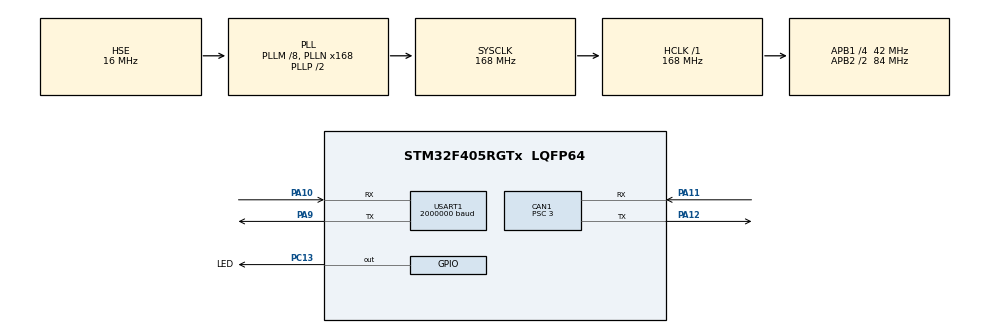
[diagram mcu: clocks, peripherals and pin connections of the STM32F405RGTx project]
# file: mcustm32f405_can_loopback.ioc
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CAN1.BS1=CAN_BS1_11TQ
CAN1.BS2=CAN_BS2_2TQ
CAN1.CalculateBaudRate=1000000
CAN1.CalculateTimeBit=1000
CAN1.CalculateTimeQuantum=71.42857142857143
CAN1.Mode=CAN_MODE_LOOPBACK
CAN1.Prescaler=3
Mcu.Family=STM32F4
Mcu.Name=STM32F405RGTx
Mcu.Package=LQFP64
NVIC.CAN1_RX0_IRQn=true\:0\:0\:false\:false\:true\:true\:true\:true
NVIC.CAN1_RX1_IRQn=true\:0\:0\:false\:false\:true\:true\:true\:true
NVIC.CAN1_SCE_IRQn=true\:0\:0\:false\:false\:true\:true\:true\:true
NVIC.CAN1_TX_IRQn=true\:0\:0\:false\:false\:true\:true\:true\:true
NVIC.PriorityGroup=NVIC_PRIORITYGROUP_4
PA10.Mode=Asynchronous
PA10.Signal=USART1_RX
PA11.Mode=CAN_Activate
PA11.Signal=CAN1_RX
PA12.Mode=CAN_Activate
PA12.Signal=CAN1_TX
PA13.Mode=Trace_Asynchronous_SW
PA13.Signal=SYS_JTMS-SWDIO
PA14.Mode=Trace_Asynchronous_SW
PA14.Signal=SYS_JTCK-SWCLK
PA9.Mode=Asynchronous
PA9.Signal=USART1_TX
PB3.Mode=Trace_Asynchronous_SW
PB3.Signal=SYS_JTDO-SWO
PC13-ANTI_TAMP.GPIO_Label=LED
PC13-ANTI_TAMP.GPIO_ModeDefaultOutputPP=GPIO_MODE_OUTPUT_OD
PC13-ANTI_TAMP.GPIO_PuPd=GPIO_NOPULL
PC13-ANTI_TAMP.PinState=GPIO_PIN_SET
PC13-ANTI_TAMP.Signal=GPIO_Output
PH0-OSC_IN.Mode=HSE-External-Oscillator
PH0-OSC_IN.Signal=RCC_OSC_IN
PH1-OSC_OUT.Mode=HSE-External-Oscillator
PH1-OSC_OUT.Signal=RCC_OSC_OUT
ProjectManager.HeapSize=0x200
ProjectManager.StackSize=0x400
ProjectManager.TargetToolchain=STM32CubeIDE
RCC.48MHZClocksFreq_Value=84000000
RCC.AHBFreq_Value=168000000
RCC.APB1CLKDivider=RCC_HCLK_DIV4
RCC.APB1Freq_Value=42000000
RCC.APB1TimFreq_Value=84000000
RCC.APB2CLKDivider=RCC_HCLK_DIV2
RCC.APB2Freq_Value=84000000
RCC.APB2TimFreq_Value=168000000
RCC.CortexFreq_Value=168000000
RCC.HCLKFreq_Value=168000000
RCC.HSE_VALUE=16000000
RCC.HSI_VALUE=16000000
RCC.LSE_VALUE=32768
RCC.PLLM=8
RCC.PLLN=168
RCC.PLLSourceVirtual=RCC_PLLSOURCE_HSE
RCC.SYSCLKFreq_VALUE=168000000
RCC.SYSCLKSource=RCC_SYSCLKSOURCE_PLLCLK
RCC.VCOOutputFreq_Value=336000000
USART1.BaudRate=2000000
USART1.VirtualMode=VM_ASYNC
board=custom

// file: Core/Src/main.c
/* USER CODE BEGIN Header */
/**
 ******************************************************************************
 * @file           : main.c
 * @brief          : Main program body
 ******************************************************************************
 * @attention
 *
 * Copyright (c) 2023 STM32World <lth@stm32world.com>
 * All rights reserved.
 *
 * This software is licensed under terms that can be found in the LICENSE file
 * in the root directory of this software component.
 * If no LICENSE file comes with this software, it is provided AS-IS.
 *
 ******************************************************************************
 */
/* USER CODE END Header */
#include "main.h"

CAN_HandleTypeDef hcan1;

UART_HandleTypeDef huart1;

/* USER CODE BEGIN PV */

CAN_TxHeaderTypeDef TxHeader;
CAN_RxHeaderTypeDef RxHeader;

uint32_t TxMailbox;

uint8_t TxData[8];
uint8_t RxData[8];

uint32_t msg_count = 0;

/* USER CODE END PV */

void SystemClock_Config(void);
static void MX_GPIO_Init(void);
static void MX_CAN1_Init(void);
static void MX_USART1_UART_Init(void);

/* USER CODE BEGIN 0 */

// Send printf to uart1
int _write(int fd, char *ptr, int len) {
    HAL_StatusTypeDef hstatus;

    if (fd == 1 || fd == 2) {
        hstatus = HAL_UART_Transmit(&huart1, (uint8_t*) ptr, len, HAL_MAX_DELAY);
        if (hstatus == HAL_OK)
            return len;
        else
            return -1;
    }
    return -1;
}

void HAL_CAN_TxMailbox0CompleteCallback(CAN_HandleTypeDef *hcan)
{
    DBG("HAL_CAN_TxMailbox0CompleteCallback");
}

void HAL_CAN_TxMailbox1CompleteCallback(CAN_HandleTypeDef *hcan)
{
    DBG("HAL_CAN_TxMailbox1CompleteCallback");
}

void HAL_CAN_TxMailbox2CompleteCallback(CAN_HandleTypeDef *hcan)
{
    DBG("HAL_CAN_TxMailbox2CompleteCallback");
}

void HAL_CAN_TxMailbox0AbortCallback(CAN_HandleTypeDef *hcan)
{
    DBG("HAL_CAN_TxMailbox0AbortCallback");
}

void HAL_CAN_TxMailbox1AbortCallback(CAN_HandleTypeDef *hcan)
{
    DBG("HAL_CAN_TxMailbox1AbortCallback");
}

void HAL_CAN_TxMailbox2AbortCallback(CAN_HandleTypeDef *hcan)
{
    DBG("HAL_CAN_TxMailbox2AbortCallback");
}

void HAL_CAN_RxFifo0MsgPendingCallback(CAN_HandleTypeDef *hcan)
{
    DBG("HAL_CAN_RxFifo0MsgPendingCallback");
    if (HAL_CAN_GetRxMessage(hcan, CAN_RX_FIFO0, &RxHeader, RxData) == HAL_OK) {
        DBG("Got message %lu - id = 0x%04lx len = 0x%lx, data=%02x%02x%02x%02x%02x%02x%02x%02x", msg_count + 1, RxHeader.StdId, RxHeader.DLC, RxData[0], RxData[1], RxData[2], RxData[3], RxData[4], RxData[5], RxData[6], RxData[7]);
    }
    msg_count++;
}

void HAL_CAN_RxFifo0FullCallback(CAN_HandleTypeDef *hcan)
{
    DBG("HAL_CAN_RxFifo0FullCallback");
}

void HAL_CAN_RxFifo1MsgPendingCallback(CAN_HandleTypeDef *hcan)
{
    DBG("HAL_CAN_RxFifo1MsgPendingCallback");
}

void HAL_CAN_RxFifo1FullCallback(CAN_HandleTypeDef *hcan)
{
    DBG("HAL_CAN_RxFifo1FullCallback");
}

void HAL_CAN_SleepCallback(CAN_HandleTypeDef *hcan)
{
    DBG("HAL_CAN_SleepCallback");
}

void HAL_CAN_WakeUpFromRxMsgCallback(CAN_HandleTypeDef *hcan)
{
    DBG("HAL_CAN_WakeUpFromRxMsgCallback");
}

void HAL_CAN_ErrorCallback(CAN_HandleTypeDef *hcan)
{
    DBG("HAL_CAN_ErrorCallback");
}

/* USER CODE END 0 */

int main(void)
{

    /* MCU Configuration--------------------------------------------------------*/

    /* Reset of all peripherals, Initializes the Flash interface and the Systick. */
    HAL_Init();

    /* Configure the system clock */
    SystemClock_Config();

    /* Initialize all configured peripherals */
    MX_GPIO_Init();
    MX_CAN1_Init();
    MX_USART1_UART_Init();
    /* USER CODE BEGIN 2 */

    DBG("\n\n\n\n\n---------------------\nCAN Loopback Starting");

    CAN_FilterTypeDef canfilterconfig;

    canfilterconfig.FilterActivation = CAN_FILTER_ENABLE;
    canfilterconfig.FilterBank = 12;  // anything between 0 to SlaveStartFilterBank
    canfilterconfig.FilterFIFOAssignment = CAN_RX_FIFO0;
    //canfilterconfig.FilterIdHigh = 0x103<<5;
    canfilterconfig.FilterIdHigh = 0x0000;
    canfilterconfig.FilterIdLow = 0x0000;
    //canfilterconfig.FilterMaskIdHigh = 0x1<<13;
    canfilterconfig.FilterMaskIdHigh = 0x0;
    canfilterconfig.FilterMaskIdLow = 0x0;
    canfilterconfig.FilterMode = CAN_FILTERMODE_IDMASK;
    canfilterconfig.FilterScale = CAN_FILTERSCALE_32BIT;
    canfilterconfig.SlaveStartFilterBank = 13;  // 13 to 27 are assigned to slave CAN (CAN 2) OR 0 to 12 are assgned to CAN1

    HAL_CAN_ConfigFilter(&hcan1, &canfilterconfig);

    HAL_CAN_Start(&hcan1);

    HAL_CAN_ActivateNotification(
            &hcan1,
            CAN_IT_TX_MAILBOX_EMPTY |
            CAN_IT_RX_FIFO0_MSG_PENDING |
            CAN_IT_RX_FIFO0_FULL |
            CAN_IT_RX_FIFO0_OVERRUN |
            CAN_IT_RX_FIFO1_MSG_PENDING |
            CAN_IT_RX_FIFO1_FULL |
            CAN_IT_RX_FIFO1_OVERRUN |
            CAN_IT_WAKEUP |
            CAN_IT_SLEEP_ACK |
            CAN_IT_ERROR_WARNING |
            CAN_IT_ERROR_PASSIVE |
            CAN_IT_BUSOFF |
            CAN_IT_LAST_ERROR_CODE |
            CAN_IT_ERROR
            );

    /* USER CODE END 2 */

    /* Infinite loop */
    /* USER CODE BEGIN WHILE */

    uint32_t now = 0, last_blink = 0, last_tx = 0;

    while (1) {

        now = HAL_GetTick();

        if (now - last_tx >= 100) {

            TxHeader.DLC = 4;
            TxHeader.ExtId = 0;
            TxHeader.IDE = CAN_ID_STD;
            TxHeader.RTR = CAN_RTR_DATA;
            TxHeader.StdId = 0x601;
            //TxHeader.TransmitGlobalTime = DISABLE;

            if (HAL_CAN_AddTxMessage(&hcan1, &TxHeader, (uint8_t*) &now, &TxMailbox) != HAL_OK)
                    {
                Error_Handler();
            }

            last_tx = now;
        }

        if (now - last_blink >= 500) {

            HAL_GPIO_TogglePin(LED_GPIO_Port, LED_Pin);

            last_blink = now;

        }

        /* USER CODE END WHILE */

    }
}

void SystemClock_Config(void)
{
    RCC_OscInitTypeDef RCC_OscInitStruct = { 0 };
    RCC_ClkInitTypeDef RCC_ClkInitStruct = { 0 };

    /** Configure the main internal regulator output voltage
     */
    __HAL_RCC_PWR_CLK_ENABLE();
    __HAL_PWR_VOLTAGESCALING_CONFIG(PWR_REGULATOR_VOLTAGE_SCALE1);

    /** Initializes the RCC Oscillators according to the specified parameters
     * in the RCC_OscInitTypeDef structure.
     */
    RCC_OscInitStruct.OscillatorType = RCC_OSCILLATORTYPE_HSE;
    RCC_OscInitStruct.HSEState = RCC_HSE_ON;
    RCC_OscInitStruct.PLL.PLLState = RCC_PLL_ON;
    RCC_OscInitStruct.PLL.PLLSource = RCC_PLLSOURCE_HSE;
    RCC_OscInitStruct.PLL.PLLM = 8;
    RCC_OscInitStruct.PLL.PLLN = 168;
    RCC_OscInitStruct.PLL.PLLP = RCC_PLLP_DIV2;
    RCC_OscInitStruct.PLL.PLLQ = 4;
    if (HAL_RCC_OscConfig(&RCC_OscInitStruct) != HAL_OK)
            {
        Error_Handler();
    }

    /** Initializes the CPU, AHB and APB buses clocks
     */
    RCC_ClkInitStruct.ClockType = RCC_CLOCKTYPE_HCLK | RCC_CLOCKTYPE_SYSCLK
            | RCC_CLOCKTYPE_PCLK1 | RCC_CLOCKTYPE_PCLK2;
    RCC_ClkInitStruct.SYSCLKSource = RCC_SYSCLKSOURCE_PLLCLK;
    RCC_ClkInitStruct.AHBCLKDivider = RCC_SYSCLK_DIV1;
    RCC_ClkInitStruct.APB1CLKDivider = RCC_HCLK_DIV4;
    RCC_ClkInitStruct.APB2CLKDivider = RCC_HCLK_DIV2;

    if (HAL_RCC_ClockConfig(&RCC_ClkInitStruct, FLASH_LATENCY_5) != HAL_OK)
            {
        Error_Handler();
    }
}

static void MX_CAN1_Init(void)
{

    hcan1.Instance = CAN1;
    hcan1.Init.Prescaler = 3;
    hcan1.Init.Mode = CAN_MODE_LOOPBACK;
    hcan1.Init.SyncJumpWidth = CAN_SJW_1TQ;
    hcan1.Init.TimeSeg1 = CAN_BS1_11TQ;
    hcan1.Init.TimeSeg2 = CAN_BS2_2TQ;
    hcan1.Init.TimeTriggeredMode = DISABLE;
    hcan1.Init.AutoBusOff = DISABLE;
    hcan1.Init.AutoWakeUp = DISABLE;
    hcan1.Init.AutoRetransmission = DISABLE;
    hcan1.Init.ReceiveFifoLocked = DISABLE;
    hcan1.Init.TransmitFifoPriority = DISABLE;
    if (HAL_CAN_Init(&hcan1) != HAL_OK)
            {
        Error_Handler();
    }

}

static void MX_USART1_UART_Init(void)
{

    huart1.Instance = USART1;
    huart1.Init.BaudRate = 2000000;
    huart1.Init.WordLength = UART_WORDLENGTH_8B;
    huart1.Init.StopBits = UART_STOPBITS_1;
    huart1.Init.Parity = UART_PARITY_NONE;
    huart1.Init.Mode = UART_MODE_TX_RX;
    huart1.Init.HwFlowCtl = UART_HWCONTROL_NONE;
    huart1.Init.OverSampling = UART_OVERSAMPLING_16;
    if (HAL_UART_Init(&huart1) != HAL_OK)
            {
        Error_Handler();
    }

}

static void MX_GPIO_Init(void)
{
    GPIO_InitTypeDef GPIO_InitStruct = { 0 };

    /* GPIO Ports Clock Enable */
    __HAL_RCC_GPIOC_CLK_ENABLE();
    __HAL_RCC_GPIOH_CLK_ENABLE();
    __HAL_RCC_GPIOA_CLK_ENABLE();
    __HAL_RCC_GPIOB_CLK_ENABLE();

    /*Configure GPIO pin Output Level */
    HAL_GPIO_WritePin(LED_GPIO_Port, LED_Pin, GPIO_PIN_SET);

    /*Configure GPIO pin : LED_Pin */
    GPIO_InitStruct.Pin = LED_Pin;
    GPIO_InitStruct.Mode = GPIO_MODE_OUTPUT_OD;
    GPIO_InitStruct.Pull = GPIO_NOPULL;
    GPIO_InitStruct.Speed = GPIO_SPEED_FREQ_LOW;
    HAL_GPIO_Init(LED_GPIO_Port, &GPIO_InitStruct);

}

void Error_Handler(void)
{
    __disable_irq();
    while (1) {
    }
}
